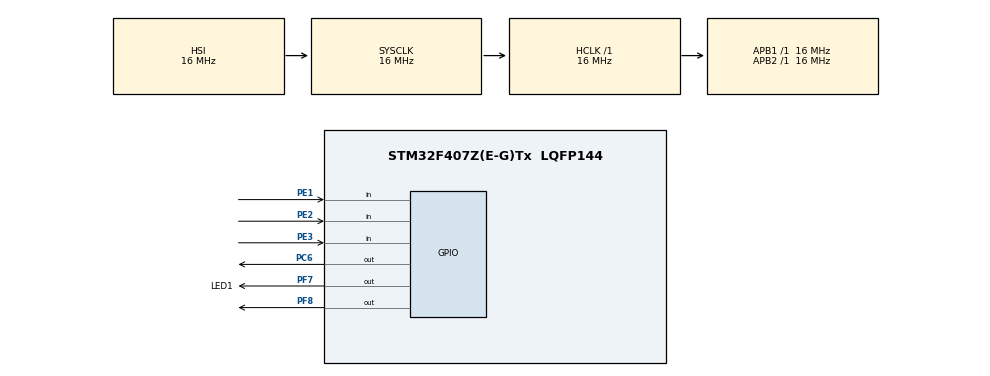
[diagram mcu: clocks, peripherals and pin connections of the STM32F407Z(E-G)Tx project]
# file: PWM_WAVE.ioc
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Mcu.Family=STM32F4
Mcu.Name=STM32F407Z(E-G)Tx
Mcu.Package=LQFP144
NVIC.PriorityGroup=NVIC_PRIORITYGROUP_4
NVIC.TIM6_DAC_IRQn=true\:0\:0\:false\:false\:true\:true\:true\:true
NVIC.TIM7_IRQn=true\:0\:0\:false\:false\:true\:true\:true\:true
PA8.GPIO_Label=TIM6
PA8.Signal=S_TIM1_CH1
PB6.GPIO_Label=TIM7
PB6.Signal=S_TIM4_CH1
PC6.Signal=GPIO_Output
PE1.Signal=GPIO_Input
PE2.Signal=GPIO_Input
PE3.Signal=GPIO_Input
PF7.GPIO_Label=LED1
PF7.Signal=GPIO_Output
PF8.Signal=GPIO_Output
ProjectManager.HeapSize=0x200
ProjectManager.StackSize=0x400
ProjectManager.TargetToolchain=MDK-ARM V5.32
RCC.AHBFreq_Value=16000000
RCC.APB1Freq_Value=16000000
RCC.APB2Freq_Value=16000000
RCC.CortexFreq_Value=16000000
RCC.HSE_VALUE=25000000
RCC.HSI_VALUE=16000000
RCC.LSE_VALUE=32768
RCC.SYSCLKFreq_VALUE=16000000
RCC.VCOOutputFreq_Value=192000000
SH.S_TIM1_CH1.0=TIM1_CH1
SH.S_TIM4_CH1.0=TIM4_CH1
TIM6.Period=19
TIM6.Prescaler=15999
TIM7.Period=4
TIM7.Prescaler=15999
VP_TIM6_VS_ClockSourceINT.Mode=Enable_Timer
VP_TIM7_VS_ClockSourceINT.Mode=Enable_Timer
board=custom

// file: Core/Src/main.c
/* USER CODE BEGIN Header */
/**
  ******************************************************************************
  * @file           : main.c
  * @brief          : Main program body
  ******************************************************************************
  * @attention
  *
  * Copyright (c) 2025 STMicroelectronics.
  * All rights reserved.
  *
  * This software is licensed under terms that can be found in the LICENSE file
  * in the root directory of this software component.
  * If no LICENSE file comes with this software, it is provided AS-IS.
  *
  ******************************************************************************
  */
/* USER CODE END Header */
#include "main.h"
#include "tim.h"
#include "gpio.h"

void SystemClock_Config(void);

/* USER CODE BEGIN 0 */
int flag = 0;
/* USER CODE END 0 */

int main(void)
{

  /* MCU Configuration--------------------------------------------------------*/

  /* Reset of all peripherals, Initializes the Flash interface and the Systick. */
  HAL_Init();

  /* Configure the system clock */
  SystemClock_Config();

  /* Initialize all configured peripherals */
  MX_GPIO_Init();
  MX_TIM6_Init();
  MX_TIM7_Init();
  /* USER CODE BEGIN 2 */
	HAL_TIM_Base_Start_IT(&htim6);

  /* USER CODE END 2 */

  /* Infinite loop */
  /* USER CODE BEGIN WHILE */
  while (1)
  {
		if(HAL_GPIO_ReadPin(GPIOE, GPIO_PIN_1)==RESET) flag=1;
		else if(HAL_GPIO_ReadPin(GPIOE, GPIO_PIN_2)==RESET) flag=2;
		else if(HAL_GPIO_ReadPin(GPIOE, GPIO_PIN_3)==RESET) flag=3;
    /* USER CODE END WHILE */

  }
}

void SystemClock_Config(void)
{
  RCC_OscInitTypeDef RCC_OscInitStruct = {0};
  RCC_ClkInitTypeDef RCC_ClkInitStruct = {0};

  /** Configure the main internal regulator output voltage
  */
  __HAL_RCC_PWR_CLK_ENABLE();
  __HAL_PWR_VOLTAGESCALING_CONFIG(PWR_REGULATOR_VOLTAGE_SCALE1);

  /** Initializes the RCC Oscillators according to the specified parameters
  * in the RCC_OscInitTypeDef structure.
  */
  RCC_OscInitStruct.OscillatorType = RCC_OSCILLATORTYPE_HSI;
  RCC_OscInitStruct.HSIState = RCC_HSI_ON;
  RCC_OscInitStruct.HSICalibrationValue = RCC_HSICALIBRATION_DEFAULT;
  RCC_OscInitStruct.PLL.PLLState = RCC_PLL_NONE;
  if (HAL_RCC_OscConfig(&RCC_OscInitStruct) != HAL_OK)
  {
    Error_Handler();
  }

  /** Initializes the CPU, AHB and APB buses clocks
  */
  RCC_ClkInitStruct.ClockType = RCC_CLOCKTYPE_HCLK|RCC_CLOCKTYPE_SYSCLK
                              |RCC_CLOCKTYPE_PCLK1|RCC_CLOCKTYPE_PCLK2;
  RCC_ClkInitStruct.SYSCLKSource = RCC_SYSCLKSOURCE_HSI;
  RCC_ClkInitStruct.AHBCLKDivider = RCC_SYSCLK_DIV1;
  RCC_ClkInitStruct.APB1CLKDivider = RCC_HCLK_DIV1;
  RCC_ClkInitStruct.APB2CLKDivider = RCC_HCLK_DIV1;

  if (HAL_RCC_ClockConfig(&RCC_ClkInitStruct, FLASH_LATENCY_0) != HAL_OK)
  {
    Error_Handler();
  }
}

/* USER CODE BEGIN 4 */
int i=0;
void HAL_TIM_PeriodElapsedCallback(TIM_HandleTypeDef *htim)
{
	if(htim->Instance == TIM6)
	{
		HAL_GPIO_WritePin(GPIOC, GPIO_PIN_6, GPIO_PIN_SET);
		HAL_TIM_Base_Start_IT(&htim7);
	}
	if(htim->Instance == TIM7)
			{
				if(flag==1)
				{
					if(i == 0)
						{
							HAL_GPIO_WritePin(GPIOC, GPIO_PIN_6, GPIO_PIN_RESET);
							HAL_TIM_Base_Stop_IT(&htim7);
							i = 0;
						}
						else
						{
							i++;
						}
				}
				if(flag==2)
				{
					if(i == 1)
						{
							HAL_GPIO_WritePin(GPIOC, GPIO_PIN_6, GPIO_PIN_RESET);
							HAL_TIM_Base_Stop_IT(&htim7);
							i = 0;
						}
						else
						{
							//HAL_GPIO_WritePin(GPIOC, GPIO_PIN_6, GPIO_PIN_SET);
							i++;
						}
				}
				if(flag==3)
				{
					if(i == 2)
						{
							HAL_GPIO_WritePin(GPIOC, GPIO_PIN_6, GPIO_PIN_RESET);
							HAL_TIM_Base_Stop_IT(&htim7);
							i = 0;
						}
						else
						{
							//HAL_GPIO_WritePin(GPIOC, GPIO_PIN_6, GPIO_PIN_SET);
							i++;
						}
				}
			}
}
/* USER CODE END 4 */

void Error_Handler(void)
{
  __disable_irq();
  while (1)
  {
  }
}
